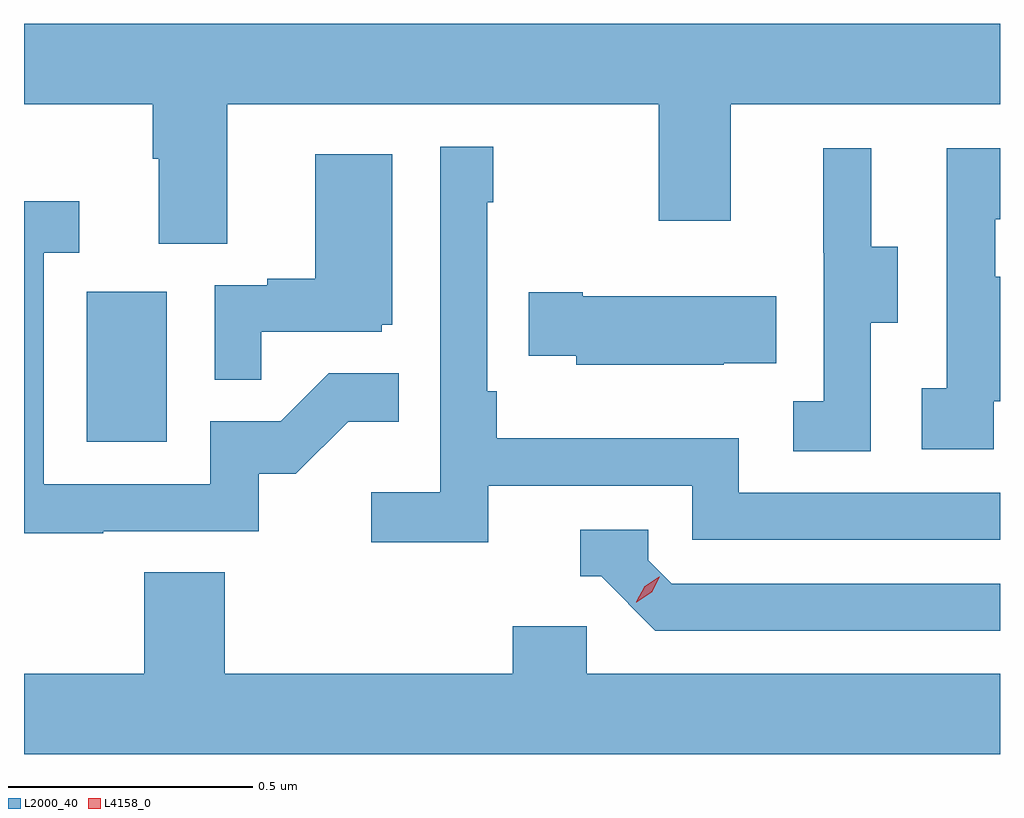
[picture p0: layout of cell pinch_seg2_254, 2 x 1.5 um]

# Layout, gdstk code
import gdstk
lib = gdstk.Library(unit=1e-6, precision=1e-09)
def R(c, l, rs):  # rectangles x0, y0, x1, y1
    for r in rs: c.add(gdstk.rectangle(r[:2], r[2:], *l))
def P(c, l, *ps):  # polygons
    for p in ps: c.add(gdstk.Polygon(p, *l))
L2000_40 = (2000, 40)
L4158_0 = (4158, 0)

pinch_seg2_254 = lib.new_cell('pinch_seg2_254')
R(pinch_seg2_254, L2000_40, [(933.218,653.604,933.382,653.911)])
P(pinch_seg2_254, L2000_40, [(933.505,654.296),(934.39,654.296),(934.39,654.057),(934.537,654.057),(934.537,654.296),(935.089,654.296),(935.089,654.46),(933.089,654.46),(933.089,654.296),(933.353,654.296),(933.353,654.184),(933.365,654.184),(933.365,654.01),(933.505,654.01)],
  [(934.04,653.514),(934.458,653.514),(934.458,653.403),(935.089,653.403),(935.089,653.499),(934.554,653.499),(934.554,653.611),(934.058,653.611),(934.058,653.707),(934.038,653.707),(934.038,654.095),(934.051,654.095),(934.051,654.208),(933.942,654.208),(933.942,653.5),(933.801,653.5),(933.801,653.398),(934.04,653.398)],
  [(934.824,653.848),(934.879,653.848),(934.879,654.003),(934.825,654.003),(934.825,654.205),(934.727,654.205),(934.727,653.991),(934.728,653.991),(934.728,653.687),(934.665,653.687),(934.665,653.584),(934.824,653.584)],
  [(935.076,653.687),(935.089,653.687),(935.089,653.942),(935.079,653.942),(935.079,654.06),(935.089,654.06),(935.089,654.205),(934.98,654.205),(934.98,653.714),(934.929,653.714),(934.929,653.589),(935.076,653.589)],
  [(933.575,653.829),(933.822,653.829),(933.822,653.844),(933.844,653.844),(933.844,654.193),(933.686,654.193),(933.686,653.938),(933.587,653.938),(933.587,653.925),(933.48,653.925),(933.48,653.731),(933.575,653.731)],
  [(933.251,653.421),(933.57,653.421),(933.57,653.538),(933.646,653.538),(933.753,653.645),(933.857,653.645),(933.857,653.744),(933.713,653.744),(933.615,653.646),(933.471,653.646),(933.471,653.517),(933.129,653.517),(933.129,653.991),(933.202,653.991),(933.202,654.097),(933.089,654.097),(933.089,653.416),(933.251,653.416)],
  [(934.523,653.765),(934.631,653.765),(934.631,653.902),(934.234,653.902),(934.234,653.91),(934.123,653.91),(934.123,653.78),(934.221,653.78),(934.221,653.762),(934.523,653.762)],
  [(935.089,653.313),(934.416,653.313),(934.368,653.361),(934.368,653.424),(934.229,653.424),(934.229,653.328),(934.272,653.328),(934.383,653.217),(935.089,653.217)],
  [(935.089,653.128),(934.242,653.128),(934.242,653.226),(934.091,653.226),(934.091,653.128),(933.5,653.128),(933.5,653.336),(933.335,653.336),(933.335,653.128),(933.089,653.128),(933.089,652.964),(935.089,652.964)])
P(pinch_seg2_254, L4158_0, [(934.344,653.275),(934.344,653.276),(934.361,653.308),(934.391,653.327),(934.392,653.327),(934.392,653.327),(934.375,653.295),(934.345,653.275)])

lib.write_gds('pinch_seg2_254.gds')
